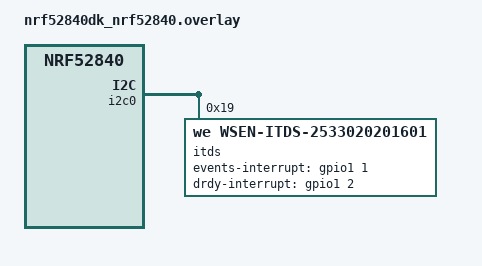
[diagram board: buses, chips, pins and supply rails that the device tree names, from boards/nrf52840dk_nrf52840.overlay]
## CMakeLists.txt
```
# SPDX-License-Identifier: Apache-2.0

cmake_minimum_required(VERSION 3.20.0)
find_package(Zephyr REQUIRED HINTS $ENV{ZEPHYR_BASE})
project(wsen_itds_2533020201601)

target_sources(app PRIVATE src/main.c)
```

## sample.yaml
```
sample:
  name: WSEN-ITDS-2533020201601 Sensor Sample
tests:
  sample.sensor.wsen-ITDS-2533020201601:
    harness: sensor
    tags: sensors
    depends_on: i2c gpio
    filter: dt_compat_enabled("we,wsen-itds-2533020201601")
```

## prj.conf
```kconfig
CONFIG_PRINTK=y
CONFIG_GPIO=y
CONFIG_I2C=y
# CONFIG_SPI=y
CONFIG_SENSOR=y
CONFIG_CBPRINTF_FP_SUPPORT=y

CONFIG_LOG=y
CONFIG_LOG_MODE_MINIMAL=y
CONFIG_ASSERT=y

# CONFIG_WSEN_ITDS_2533020201601_TRIGGER_OWN_THREAD=y
# CONFIG_WSEN_ITDS_2533020201601_TRIGGER_GLOBAL_THREAD=y
# CONFIG_WSEN_ITDS_2533020201601_TAP=y
```

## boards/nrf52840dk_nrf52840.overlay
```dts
&i2c0 {
	itds:itds-2533020201601@19 {
		compatible = "we,wsen-itds-2533020201601";
		reg = <0x19>;
		odr = "400";
		op-mode = "high-perf";
		power-mode = "normal";
		tap-threshold = <0>, <0>, <6>;
		tap-latency = < 5 >;
		tap-shock = < 2 >;
		tap-quiet = < 1 >;
		tap-mode = < 1 >;
		freefall-duration = < 6 >;
		freefall-threshold = < 10 >;
		delta-duration = < 1 >;
		delta-threshold = < 4 >;
		events-interrupt-gpios = <&gpio1 1 GPIO_ACTIVE_HIGH>;
		drdy-interrupt-gpios = < &gpio1 2 GPIO_ACTIVE_HIGH >;
	};
};
```

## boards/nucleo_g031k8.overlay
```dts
&i2c1 {
	itds:itds-2533020201601@19 {
		compatible = "we,wsen-itds-2533020201601";
		reg = <0x19>;
		odr = "400";
		op-mode = "high-perf";
		power-mode = "normal";
		tap-threshold = <0>, <0>, <6>;
		tap-latency = < 5 >;
		tap-shock = < 2 >;
		tap-quiet = < 1 >;
		tap-mode = < 1 >;
		freefall-duration = < 6 >;
		freefall-threshold = < 10 >;
		delta-duration = < 1 >;
		delta-threshold = < 4 >;
		events-interrupt-gpios = <&gpioa 1 GPIO_ACTIVE_HIGH>;
		drdy-interrupt-gpios = <&gpioa 0 GPIO_ACTIVE_HIGH>;
	};
};
```

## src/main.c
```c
/*
 * Copyright (c) 2023 Würth Elektronik eiSos GmbH & Co. KG
 *
 * SPDX-License-Identifier: Apache-2.0
 */

#include <zephyr/kernel.h>

#include <zephyr/sys/printk.h>
#include <zephyr/sys_clock.h>
#include <stdio.h>

#include <zephyr/device.h>
#include <zephyr/drivers/sensor.h>
#include <zephyr/drivers/i2c.h>
#include <zephyr/logging/log.h>

LOG_MODULE_REGISTER(MAIN);

#define MAX_TEST_TIME 50000
#define SLEEPTIME     500

static void process_sample_temp(const struct device *itds_2533020201601)
{
	struct sensor_value temp_value;

	if (sensor_sample_fetch_chan(itds_2533020201601, SENSOR_CHAN_AMBIENT_TEMP) < 0) {
		LOG_INF("sample update error.\n");
		return;
	}

	if (sensor_channel_get(itds_2533020201601, SENSOR_CHAN_AMBIENT_TEMP, &temp_value) < 0) {
		LOG_ERR("Temperature channel read error.\n");
		return;
	}

	LOG_INF("Temperature (Celsius): %f\n", sensor_value_to_float(&temp_value));
}

static void process_sample_acceleration(const struct device *itds_2533020201601)
{
	struct sensor_value accel_value[3];

	if (sensor_sample_fetch_chan(itds_2533020201601, SENSOR_CHAN_ACCEL_XYZ) < 0) {
		LOG_INF("sample update error.\n");
		return;
	}

	if (sensor_channel_get(itds_2533020201601, SENSOR_CHAN_ACCEL_XYZ, accel_value) < 0) {
		LOG_ERR("Acceleration channel read error.\n");
		return;
	}
	LOG_INF("Acceleration (g): x=%f, y=%f, z=%f\n",
		sensor_ms2_to_ug(&accel_value[0]) / 1000000.0f,
		sensor_ms2_to_ug(&accel_value[1]) / 1000000.0f,
		sensor_ms2_to_ug(&accel_value[2]) / 1000000.0f);
}

static void data_ready_interrupt_handler(const struct device *itds_2533020201601,
					 const struct sensor_trigger *trig)
{
	process_sample_acceleration(itds_2533020201601);
}

void data_ready_trigger(const struct device *itds_2533020201601)
{

	struct sensor_trigger trig = {
		.type = SENSOR_TRIG_DATA_READY,
		.chan = SENSOR_CHAN_ACCEL_XYZ,
	};

	if (sensor_trigger_set(itds_2533020201601, &trig, data_ready_interrupt_handler) < 0) {
		LOG_ERR("Failed to configure trigger.");
	}
}

#ifdef CONFIG_WSEN_ITDS_2533020201601_TAP

static void tap_interrupt_handler(const struct device *itds_2533020201601,
				  const struct sensor_trigger *trig)
{
	LOG_INF("Single Tap.\n");
}

static void double_tap_interrupt_handler(const struct device *itds_2533020201601,
					 const struct sensor_trigger *trig)
{
	LOG_INF("Double Tap.\n");
}

void tap_trigger(const struct device *itds_2533020201601)
{

	struct sensor_trigger trig = {
		.type = SENSOR_TRIG_TAP,
		.chan = SENSOR_CHAN_ALL,
	};

	if (sensor_trigger_set(itds_2533020201601, &trig, tap_interrupt_handler) < 0) {
		LOG_ERR("Failed to configure trigger.");
	}
}

void double_tap_trigger(const struct device *itds_2533020201601)
{

	struct sensor_trigger trig = {
		.type = SENSOR_TRIG_DOUBLE_TAP,
		.chan = SENSOR_CHAN_ALL,
	};

	if (sensor_trigger_set(itds_2533020201601, &trig, double_tap_interrupt_handler) < 0) {
		LOG_ERR("Failed to configure trigger.");
	}
}

#endif /* CONFIG_WSEN_ITDS_2533020201601_TAP */

#ifdef CONFIG_WSEN_ITDS_2533020201601_FREEFALL

static void free_fall_interrupt_handler(const struct device *itds_2533020201601,
					const struct sensor_trigger *trig)
{
	LOG_INF("Free fall.\n");
}

void free_fall_trigger(const struct device *itds_2533020201601)
{

	struct sensor_trigger trig = {
		.type = SENSOR_TRIG_FREEFALL,
		.chan = SENSOR_CHAN_ALL,
	};

	if (sensor_trigger_set(itds_2533020201601, &trig, free_fall_interrupt_handler) < 0) {
		LOG_ERR("Failed to configure trigger.");
	}
}

#endif /* CONFIG_WSEN_ITDS_2533020201601_FREEFALL */

#ifdef CONFIG_WSEN_ITDS_2533020201601_DELTA

static void wake_up_interrupt_handler(const struct device *itds_2533020201601,
				      const struct sensor_trigger *trig)
{
	LOG_INF("Wake up.\n");
}

void wake_up_trigger(const struct device *itds_2533020201601)
{

	struct sensor_trigger trig = {
		.type = SENSOR_TRIG_DELTA,
		.chan = SENSOR_CHAN_ALL,
	};

	if (sensor_trigger_set(itds_2533020201601, &trig, wake_up_interrupt_handler) < 0) {
		LOG_ERR("Failed to configure trigger.");
	}
}
#endif /* CONFIG_WSEN_ITDS_2533020201601_DELTA */

int main(void)
{
	const struct device *const itds_2533020201601 = DEVICE_DT_GET(DT_NODELABEL(itds));

	if (!device_is_ready(itds_2533020201601)) {
		LOG_ERR("sensor: device not ready.\n");
		return 0;
	}

	k_sleep(K_MSEC(SLEEPTIME));

	if (IS_ENABLED(CONFIG_WSEN_ITDS_2533020201601_TRIGGER)) {
		/* interrupt mode */
		data_ready_trigger(itds_2533020201601);

#ifdef CONFIG_WSEN_ITDS_2533020201601_TAP
		tap_trigger(itds_2533020201601);

		double_tap_trigger(itds_2533020201601);
#endif /* CONFIG_WSEN_ITDS_2533020201601_TAP */

#ifdef CONFIG_WSEN_ITDS_2533020201601_FREEFALL
		free_fall_trigger(itds_2533020201601);
#endif /* CONFIG_WSEN_ITDS_2533020201601_FREEFALL */

#ifdef CONFIG_WSEN_ITDS_2533020201601_DELTA
		wake_up_trigger(itds_2533020201601);
#endif /* CONFIG_WSEN_ITDS_2533020201601_DELTA */

	} else {
		/* polling mode */

		int32_t remaining_test_time = MAX_TEST_TIME;
		
		do {
			process_sample_temp(itds_2533020201601);
			process_sample_acceleration(itds_2533020201601);

			/* wait a while */
			k_sleep(K_MSEC(SLEEPTIME));

			remaining_test_time -= SLEEPTIME;
		} while (remaining_test_time > 0);
	}

	k_sleep(K_FOREVER);
	return 0;
}
```
